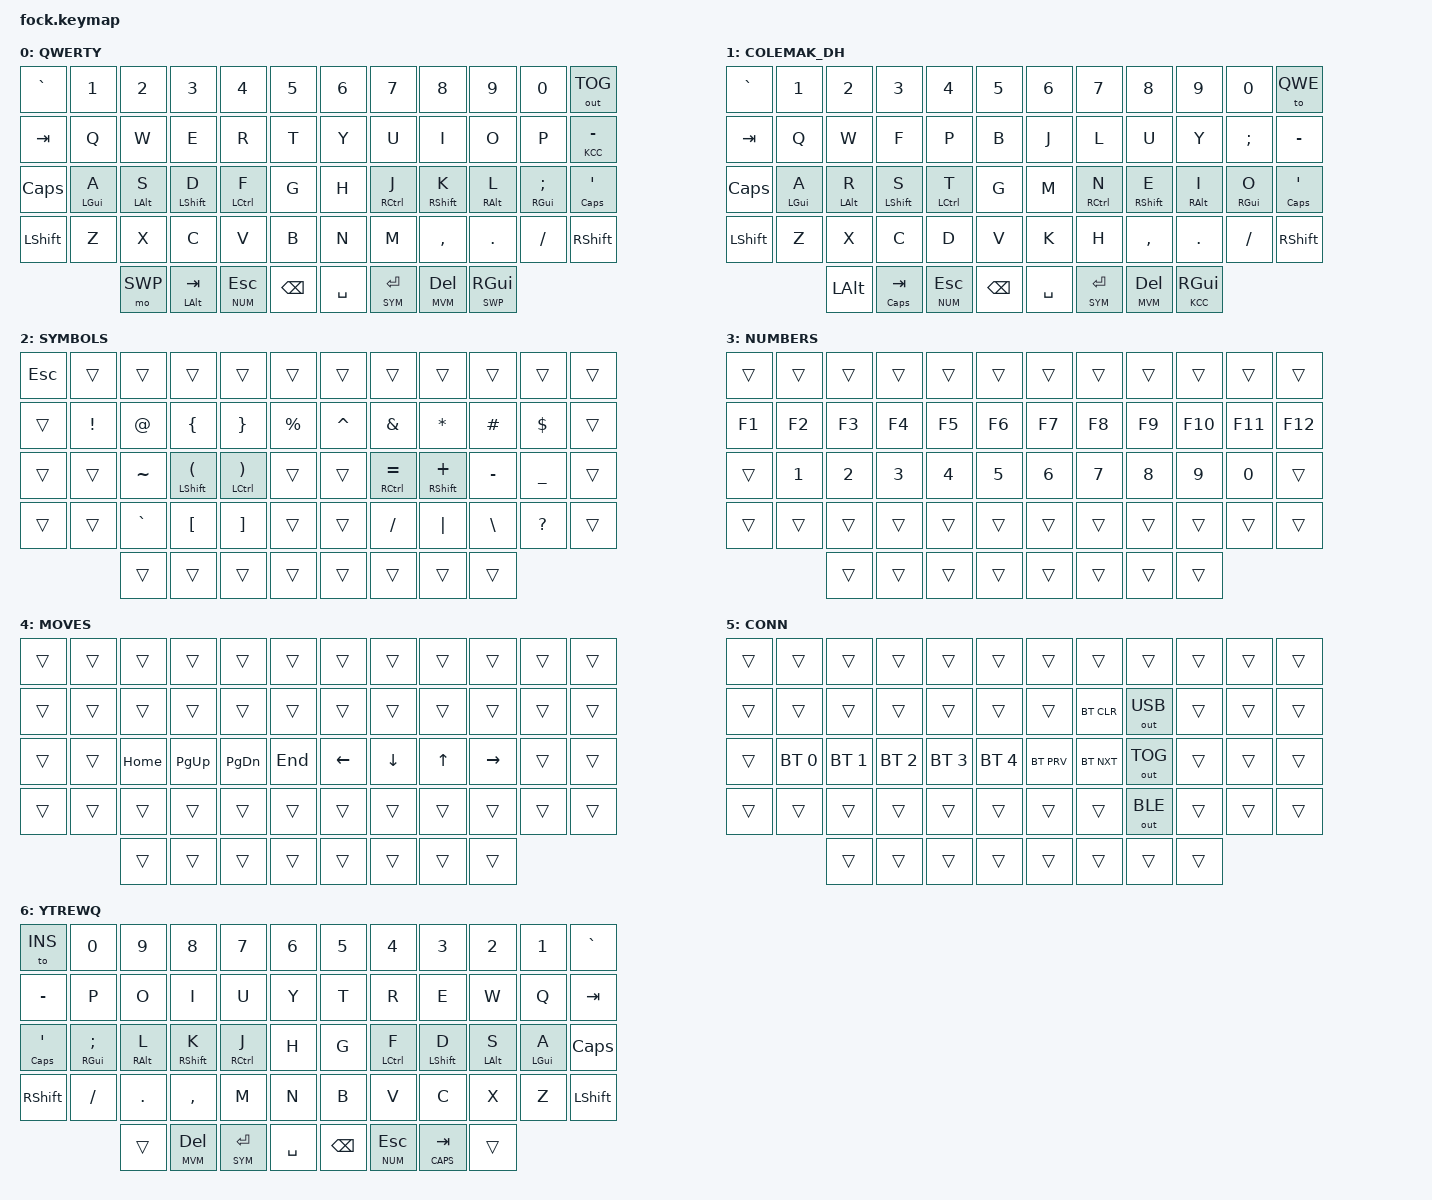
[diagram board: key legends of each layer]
/*
 * Copyright (c) 2022-25 The ZMK Contributors
 *
 * SPDX-License-Identifier: MIT
 */

#include <behaviors.dtsi>
#include <dt-bindings/zmk/keys.h>
#include <dt-bindings/zmk/outputs.h>
#include <dt-bindings/zmk/bt.h>
#include <dt-bindings/zmk/ext_power.h>

#define QWE 0
#define CDH 1
#define SYM 2
#define NUM 3
#define MVM 4
#define KCC 5
#define SWP 6

/ {
  behaviours {
    hml: home_row_mod_left {
      compatible = "zmk,behavior-hold-tap";
      #binding-cells = <2>;
      flavor = "balanced";
      require-prior-idle-ms = <120>;
      tapping-term-ms = <280>;
      quick-tap-ms = <175>;
      bindings = <&kp>, <&kp>;
      //hold-trigger-key-positions = < ... >; // List of keys on the right side of the keyboard
      hold-trigger-on-release;
    };
    hmr: home_row_mod_right {
      compatible = "zmk,behavior-hold-tap";
      #binding-cells = <2>;
      flavor = "balanced";
      require-prior-idle-ms = <120>;
      tapping-term-ms = <280>;
      quick-tap-ms = <175>;
      bindings = <&kp>, <&kp>;
      //hold-trigger-key-positions = < ... >; // List of keys on the left side of the keyboard
      hold-trigger-on-release;
    };
  };
	keymap {
		compatible = "zmk,keymap";

		QWERTY {
// |   `   |  1   |  2   |    3   |    4   |  5  |    |  6  |    7   |   8   |   9   |   0   |TG Insert|
// |  TAB  |  Q   |  W   |    E   |    R   |  T  |    |  Y  |    U   |   I   |   O   |   P   |   -  |
// |  CAPS |LGUI A|LALT S| LSFT D | LCTL F |  G  |    |  H  | RCTL J |RSFT K |RALT L |RGUI ; |CAPS '|
// | SHIFT |  Z   |  X   |    C   |    V   |  B  |    |  N  |    M   |   ,   |   .   |   /   | SHFT |
//                | ALT  |CAPS TAB|LNUM ESC| BSP |    |SPACE|LSYM RET|LMVM DEL|LKCC GUI|

            bindings = <
&kp GRAVE &kp N1      &kp N2        &kp N3         &kp N4       &kp N5             &kp N6     &kp N7         &kp N8         &kp N9       &kp N0         &out OUT_TOG
&kp TAB   &kp Q       &kp W         &kp E          &kp R        &kp T              &kp Y      &kp U          &kp I          &kp O        &kp P          &lt KCC MINUS
&kp CAPS  &hml LGUI A &hml LALT S   &hml LSHFT D   &hml LCTRL F &kp G              &kp H      &hmr RCTRL J   &hmr RSHFT K   &hmr RALT L  &hmr RGUI SEMI &hmr CAPS SQT
&kp LSHFT &kp Z       &kp X         &kp C          &kp V        &kp B              &kp N      &kp M          &kp COMMA      &kp DOT      &kp FSLH       &kp RSHFT
                      &mo SWP       &hml LALT TAB   &lt NUM ESC  &kp BSPC           &kp SPACE  &lt SYM RET    &lt MVM DEL    &lt SWP RGUI
			>;
		};

// &to CDH
// to get here
// CURRENTLY UNUSED

		COLEMAK_DH {
// |   `   |  1   |  2   |   3    |    4   |  5  |    |  6  |    7   |   8   |   9  |   0  |TG QWE|
// |  TAB  |  Q   |  W   |   F    |    P   |  B  |    |  J  |    L   |   U   |   Y  |   ;  |   -  |
// |  CAPS |LGUI A|LALT R| LSFT S | LCTL T |  G  |    |  M  | RCTL N |RSFT E |RALT I|RGUI O|CAPS '|
// | SHIFT |  Z   |  X   |    C   |    D   |  V  |    |  K  |    H   |   ,   |   .  |   /  | SHFT |
//                | ALT  |CAPS TAB|LNUM ESC| BSP |    |SPACE|LSYM RET|LMVM DEL|LKCC GUI|
            bindings = <
&kp GRAVE &kp N1      &kp N2      &kp N3         &kp N4       &kp N5             &kp N6     &kp N7         &kp N8         &kp N9       &kp N0      &to QWE
&kp TAB   &kp Q       &kp W       &kp F          &kp P        &kp B              &kp J      &kp L          &kp U          &kp Y        &kp SEMI    &kp MINUS
&kp CAPS  &hml LGUI A  &hml LALT R  &hml LSHFT S    &hml LCTRL T  &kp G              &kp M      &hmr RCTRL N    &hmr RSHFT E    &hmr RALT I   &hmr RGUI O  &hmr CAPS SQT
&kp LSHFT &kp Z       &kp X       &kp C          &kp D        &kp V              &kp K      &kp H          &kp COMMA      &kp DOT      &kp FSLH    &kp RSHFT
                      &kp LALT    &hml CAPS TAB   &lt NUM ESC  &kp BSPC           &kp SPACE  &lt SYM RET    &lt MVM DEL    &lt KCC RGUI
			>;
		};

		SYMBOLS {
// | ESC |     |     |       |      |     |    |     |      |       |     |     |     |
// |     |  !  |  @  |  {    |  }   |  %  |    |  ^  |  &   |  *    |  #  |  $  |     |
// |     |     |  ~  |LSHFT (|LCTL )|     |    |     |RCTL =|RSHFT +|  -  |  _  |     |
// |     |     |  `  |  [    |  ]   |     |    |     |  /   |  |    |  \  |  ?  |     |
//             |     |       |      |     |    |     |      |       |     |
// maybe degree ring
            bindings = <
&kp ESC   &trans      &trans      &trans          &trans          &trans             &trans     &trans             &trans            &trans       &trans       &trans
&trans    &kp EXCL    &kp AT      &kp LBRC        &kp RBRC        &kp PERCENT        &kp CARET  &kp AMPS           &kp STAR          &kp HASH     &kp DOLLAR   &trans
&trans    &trans      &kp TILDE   &hml LSHFT LPAR  &hml LCTRL RPAR  &trans             &trans     &hmr RCTRL EQUAL    &hmr RSHFT PLUS    &kp MINUS    &kp UNDER    &trans
&trans    &trans      &kp GRAVE   &kp LBKT        &kp RBKT        &trans             &trans     &kp FSLH           &kp PIPE          &kp BSLH     &kp QMARK    &trans
                      &trans      &trans          &trans          &trans             &trans     &trans             &trans            &trans			>;
		};

		NUMBERS {
// ------------------------------------------------------------------------------------------------------------
// |     |     |     |     |     |     |    |     |     |     |     |     |     |
// | F1  | F2  | F3  | F4  | F5  | F6  |    | F7  | F8  | F9  | F10 | F11 | F12 |
// |     |  1  |  2  |  3  |  4  |  5  |    |  6  |  7  |  8  |  9  |  0  |     |
// |     |     |     |     |     |     |    |     |     |     |     |     |     |
//             |     |     |     |     |    |     |     |     |     |
			bindings = <
&trans  &trans  &trans  &trans  &trans  &trans    &trans  &trans  &trans  &trans  &trans  &trans
&kp F1  &kp F2  &kp F3  &kp F4  &kp F5  &kp F6    &kp F7  &kp F8  &kp F9  &kp F10 &kp F11 &kp F12
&trans  &kp N1  &kp N2  &kp N3  &kp N4  &kp N5    &kp N6  &kp N7  &kp N8  &kp N9  &kp N0  &trans
&trans  &trans  &trans  &trans  &trans  &trans    &trans  &trans  &trans  &trans  &trans  &trans
                &trans  &trans  &trans  &trans    &trans  &trans  &trans  &trans			>;
		};

		MOVES {
// ------------------------------------------------------------------------------------------------------------
// |     |     |    |     |     |     |    |     |     |     |     |     |     |
// |     |     |    |     |     |     |    |     |     |     |     |     |     |
// |     |     |HOME|PG UP|PG DN| END |    |LEFT |DOWN | UP  |RIGHT|     |     |
// |     |     |    |     |     |     |    |     |     |     |     |     |     |
//             |    |     |     |     |    |     |     |     |     |
			bindings = <
&trans  &trans  &trans    &trans     &trans     &trans     &trans    &trans    &trans  &trans     &trans  &trans
&trans  &trans  &trans    &trans     &trans     &trans     &trans    &trans    &trans  &trans     &trans  &trans
&trans  &trans  &kp HOME  &kp PG_UP  &kp PG_DN  &kp END    &kp LEFT  &kp DOWN  &kp UP  &kp RIGHT  &trans  &trans  
&trans  &trans  &trans    &trans     &trans     &trans     &trans    &trans    &trans  &trans     &trans  &trans
                &trans    &trans     &trans     &trans     &trans    &trans    &trans  &trans			>;
		};

		CONN {
// ------------------------------------------------------------------------------------------------------------
// |     |     |     |     |     |     |    |    |    |   |     |    |   |
// |     |     |     |     |     |     |    |    |BT X|USB|     |    |   |
// |     | BT1 | BT2 | BT3 | BT4 | BT5 |    |BT <|BT >|TOG|(PWR)|    |   |    
// |     |     |     |     |     |     |    |    |    |BT |     |    |   |
//             |     |     |     |     |    |    |    |   |     |
// ext_power EP_TOG

			bindings = <
&trans  &trans       &trans       &trans       &trans       &trans          &trans     &trans     &trans        &trans  &trans  &trans
&trans  &trans       &trans       &trans       &trans       &trans          &trans     &bt BT_CLR &out OUT_USB  &trans  &trans  &trans
&trans  &bt BT_SEL 0 &bt BT_SEL 1 &bt BT_SEL 2 &bt BT_SEL 3 &bt BT_SEL 4    &bt BT_PRV &bt BT_NXT &out OUT_TOG  &trans  &trans  &trans  
&trans  &trans       &trans       &trans       &trans       &trans          &trans     &trans     &out OUT_BLE  &trans  &trans  &trans
                     &trans       &trans       &trans       &trans          &trans     &trans     &trans        &trans			>;
		};


		YTREWQ {
// This but mirrored
// |   `   |  1   |  2   |    3   |    4   |  5  |    |  6  |    7   |   8   |   9   |   0   |INSERT|
// |  TAB  |  Q   |  W   |    E   |    R   |  T  |    |  Y  |    U   |   I   |   O   |   P   |   -  |
// |  CAPS |LGUI A|LALT S| LSFT D | LCTL F |  G  |    |  H  | RCTL J |RSFT K |RALT L |RGUI ; |CAPS '|
// | SHIFT |  Z   |  X   |    C   |    V   |  B  |    |  N  |    M   |   ,   |   .   |   /   | SHFT |
//                | ALT  |CAPS TAB|LNUM ESC| BSP |    |SPACE|LSYM RET|LMVM DEL|LKCC GUI|
            bindings = <
&to INS       &kp N0         &kp N9      &kp N8       &kp N7       &kp N6            &kp N5    &kp N4       &kp N3        &kp N2      &kp N1      &kp GRAVE
&kp MINUS     &kp P          &kp O       &kp I        &kp U        &kp Y             &kp T     &kp R        &kp E         &kp W       &kp Q       &kp TAB 
&hml CAPS SQT  &hml RGUI SEMI  &hml RALT L  &hml RSHFT K  &hml RCTRL J  &kp H             &kp G     &hmr LCTRL F  &hmr LSHFT D   &hmr LALT S  &hmr LGUI A  &kp CAPS
&kp RSHFT     &kp FSLH       &kp DOT     &kp COMMA    &kp M        &kp N             &kp B     &kp V        &kp C         &kp X       &kp Z       &kp LSHFT
                             &trans      &hml MVM DEL  &lt SYM RET  &kp SPACE         &kp BSPC  &lt NUM ESC  &lt CAPS TAB  &trans
			>;
		};
	};
};
